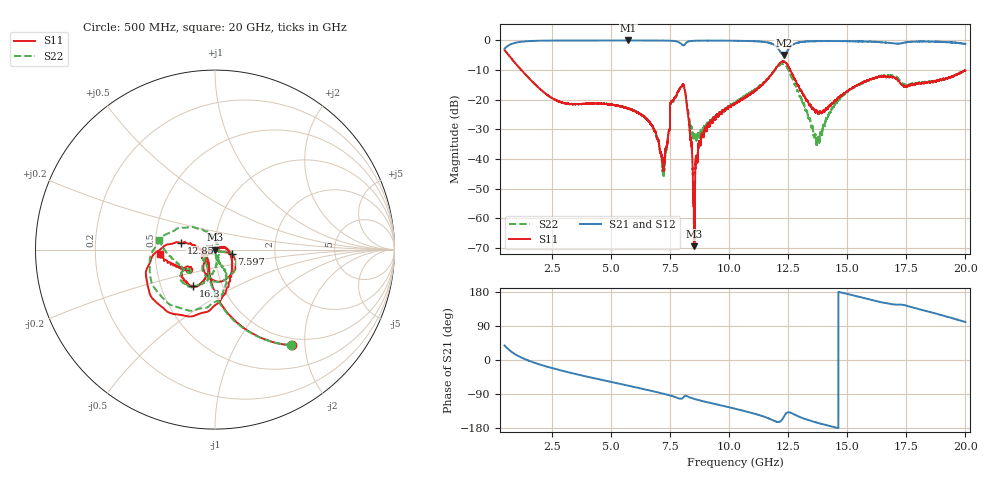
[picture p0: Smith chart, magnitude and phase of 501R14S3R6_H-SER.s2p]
!{501R14S3R6}
!Johanson Technology Inc.
!www.johansontechnology.com
!Test Board Conditions:
!Substrate Type  RO4350B
!Substrate Thickness  20 mil
!Substrate Dk  3.66
!TL Type: GCPW
!TL Trace Width  36 mil
!TL Gap  12 mil
!Electrode orientation  Horizontal
!DUT TOPOLOGY	SERIES
!Mounting Pad LxW  26x36 mil
! Created Wed Mar 11 15:59:33 2020
# mhz S ma R 50
! 2 Port Network Data from SP1.SP block
! freq  magS11  angS11  magS21  angS21  magS12  angS12  magS22  angS22
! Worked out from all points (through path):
!   19501 points, 500 MHz to 20 GHz, reference 50 ohm
!   highest |S21| = -0.06 dB at 5.73 GHz (marker M1); lowest = -5.0 dB at 12.31 GHz (marker M2)
!   group delay of S21, straight-line fit = 37.2 ps
!   lowest |S11| = -69.3 dB at 8.531 GHz (marker M3), VSWR 1.00, Z = 50 - j0.00421 ohm
!   |S11| at or under -10 dB: 1.206 GHz to 11.93 GHz (10.72 GHz wide, 163 % of centre); 12.59 GHz to end of sweep
!   |S22| runs from -45.7 to -3.3 dB; largest |S21 - S12| = 0.018
!   S11 on the Smith chart (normalised r, x): 500 MHz: 0.87, -1.74; 7.597 GHz: 1.20, -0.06; 12.85 GHz: 0.68, +0.05; 16.3 GHz: 0.72, -0.31; 20 GHz: 0.53, -0.03
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500  0.6827 -51.3  0.7234 38.2  0.7244 38.2  0.6818 -51.3
1497  0.2384 -90.5  0.9652 -1.3  0.9653 -1.3  0.2382 -90.7
3750  0.08391 -127.7  0.9882 -40.5  0.9881 -40.6  0.08393 -135.3
5730  0.07063 -162.5  0.9927 -67.7  0.9909 -67.7  0.07203 -149.3
7000  0.02099 -157.5  0.9899 -85.6  0.9903 -85.7  0.02101 -163.6
7259  0.008646 -71.4  0.9884 -89.6  0.9876 -89.6  0.006754 -75.9
7597  0.09566 -15.0  0.9773 -95.3  0.9777 -95.2  0.09127 -10.4
8101  0.1615 -100.1  0.8286 -96.0  0.8294 -95.9  0.1655 -102.6
8531  0.0003411 -172.9  0.9801 -102.9  0.9796 -102.7  0.02597 -118.9
8671  0.01117 16.3  0.9834 -105.2  0.9833 -105.1  0.02612 -97.6
8919  0.02382 21.9  0.9857 -109.1  0.9856 -109.0  0.03324 -84.8
10250  0.087 -12.5  0.9794 -128.5  0.9806 -128.5  0.08924 -67.7
11730  0.2508 -76.8  0.8984 -155.6  0.9005 -155.5  0.2492 -79.5
12309  0.4411 -140.9  0.5646 -150.9  0.5711 -151.1  0.3993 -150.5
12854  0.1926 168.5  0.8995 -146.7  0.9015 -146.7  0.1502 128.5
13500  0.07357 -175.8  0.9615 -161.3  0.9614 -161.3  0.0347 66.0
13760  0.05942 -154.5  0.9658 -166.0  0.9688 -166.0  0.02368 1.2
14661  0.1084 -108.1  0.9669 179.5  0.9701 179.5  0.09859 -89.0
16296  0.2383 -121.3  0.9369 154.4  0.9297 154.4  0.2412 -121.7
16750  0.2403 -132.5  0.9075 148.9  0.9005 148.7  0.2547 -131.5
17469  0.1689 -140.6  0.9214 143.9  0.9199 143.8  0.1782 -139.3
20000  0.3087 -175.0  0.8631 100.2  0.8643 100.4  0.3148 170.2
